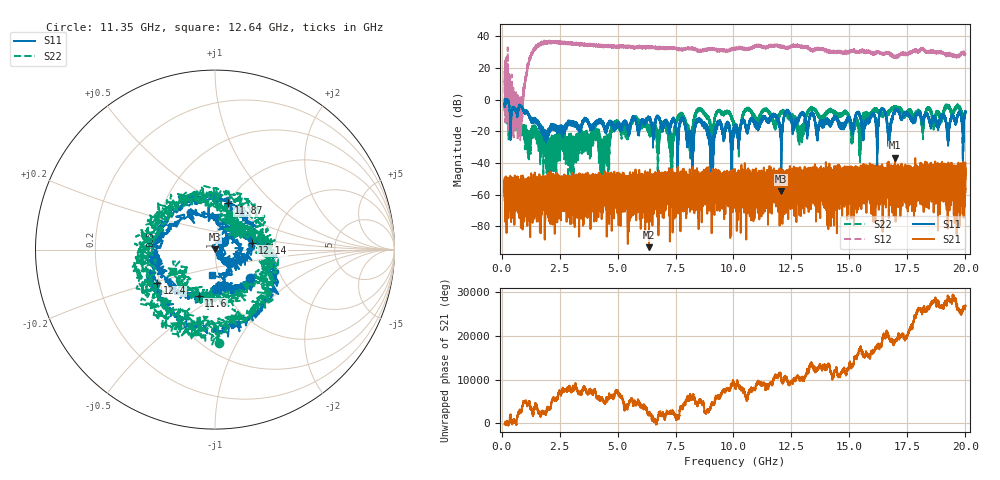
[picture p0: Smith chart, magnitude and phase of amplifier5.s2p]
!Created with skrf (http://scikit-rf.org).
# GHz S RI R 50.0
!freq ReS11 ImS11 ReS21 ImS21 ReS12 ImS12 ReS22 ImS22
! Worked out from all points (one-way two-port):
!   20013 points, 130 MHz to 20 GHz, reference 50 ohm
!   highest |S21| = -36.63 dB at 16.97 GHz (marker M1); lowest = -93.1 dB at 6.356 GHz (marker M2)
!   lowest |S11| = -57.8 dB at 12.06 GHz (marker M3), VSWR 1.00, Z = 50.1 + j0.118 ohm
!   |S11| at or under -10 dB: 1.205 GHz to 6.705 GHz (5.5 GHz wide, 139 % of centre); 6.705 GHz to 11.28 GHz (4.576 GHz wide, 50.9 % of centre); 14.35 GHz to 15.27 GHz (914.7 MHz wide, 6.18 % of centre) (the widest 3 of 273)
!   |S22| runs from -63.1 to -2.7 dB; largest |S21 - S12| = 75
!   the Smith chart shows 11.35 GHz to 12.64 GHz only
!   S11 on the Smith chart (normalised r, x): 11.35 GHz: 1.40, -0.47; 11.6 GHz: 0.74, -0.41; 11.87 GHz: 1.00, +0.56; 12.14 GHz: 1.52, +0.12; 12.4 GHz: 0.48, -0.21; 12.64 GHz: 0.93, -0.28
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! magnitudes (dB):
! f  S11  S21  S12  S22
! 130 MHz  -2.6  -63.5  8.4  -2.7
! 746 MHz  -4.7  -58.2  -5.7  -14.8
! 1.481 GHz  -13.1  -55.0  33.1  -18.8
! 3.442 GHz  -16.0  -61.3  34.6  -22.4
! 6.356 GHz  -11.7  -93.1  32.6  -17.6
! 6.754 GHz  -10.7  -48.6  32.8  -26.0
! 7.72 GHz  -13.2  -57.0  31.0  -8.8
! 8.188 GHz  -27.1  -54.7  32.2  -24.9
! 8.526 GHz  -12.8  -53.2  30.9  -5.6
! 9.055 GHz  -34.0  -70.6  32.1  -27.1
! 10.06 GHz  -17.7  -52.1  32.4  -19.6
! 11.35 GHz  -11.9  -62.5  33.3  -5.7
! 11.6 GHz  -11.3  -50.2  33.5  -10.0
! 11.87 GHz  -11.4  -54.4  34.3  -14.5
! 12.06 GHz  -57.8  -60.0  33.6  -8.8
! 12.14 GHz  -13.5  -50.1  34.0  -7.6
! 12.4 GHz  -8.6  -48.1  33.3  -10.4
! 12.64 GHz  -16.8  -49.9  34.2  -11.6
! 13.38 GHz  -8.7  -52.7  31.2  -5.9
! 16.69 GHz  -26.1  -46.7  29.1  -7.6
! 16.97 GHz  -6.6  -36.6  27.3  -9.2
! 20 GHz  -7.2  -50.1  29.0  -7.7
